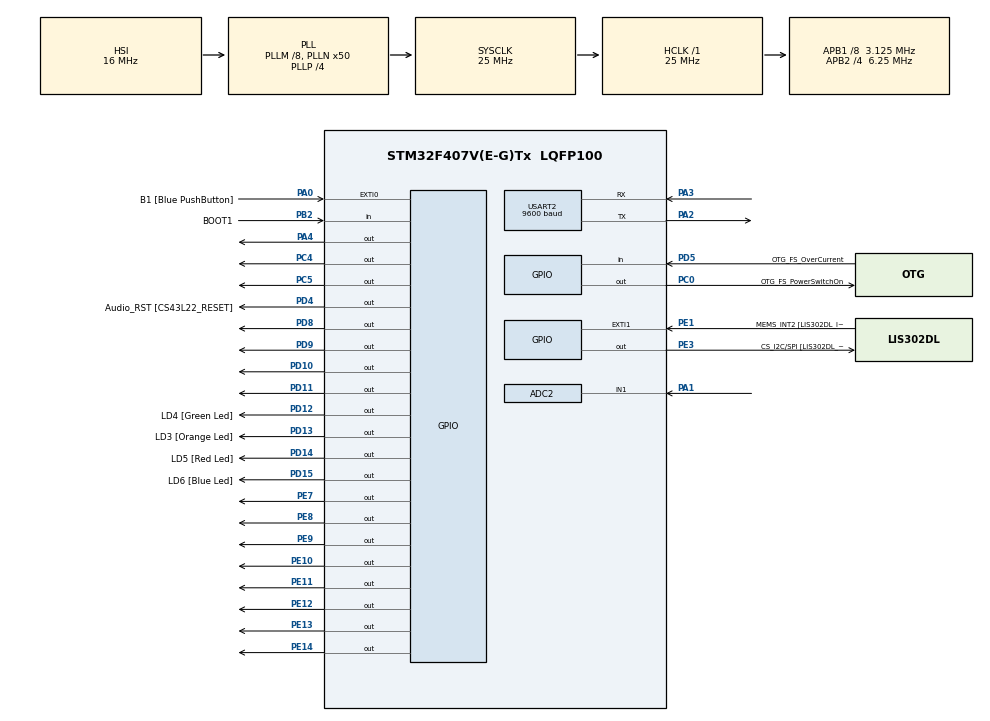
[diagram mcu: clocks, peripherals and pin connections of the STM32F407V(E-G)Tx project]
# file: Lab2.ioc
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ADC2.Channel-0\#ChannelRegularConversion=ADC_CHANNEL_1
ADC2.Channel-1\#ChannelRegularConversion=ADC_CHANNEL_1
ADC2.Channel-2\#ChannelRegularConversion=ADC_CHANNEL_1
ADC2.Channel-3\#ChannelRegularConversion=ADC_CHANNEL_1
ADC2.ClockPrescaler=ADC_CLOCK_SYNC_PCLK_DIV2
ADC2.ContinuousConvMode=DISABLE
ADC2.DMAContinuousRequests=ENABLE
ADC2.DataAlign=ADC_DATAALIGN_RIGHT
ADC2.DiscontinuousConvMode=DISABLE
ADC2.EOCSelection=ADC_EOC_SINGLE_CONV
ADC2.EnableAnalogWatchDog=false
ADC2.ExternalTrigConv=ADC_EXTERNALTRIGCONV_T2_TRGO
ADC2.ExternalTrigConvEdge=ADC_EXTERNALTRIGCONVEDGE_RISING
ADC2.InjNumberOfConversion=0
ADC2.NbrOfConversion=4
ADC2.NbrOfConversionFlag=1
ADC2.Rank-0\#ChannelRegularConversion=1
ADC2.Rank-1\#ChannelRegularConversion=2
ADC2.Rank-2\#ChannelRegularConversion=3
ADC2.Rank-3\#ChannelRegularConversion=4
ADC2.Resolution=ADC_RESOLUTION_12B
ADC2.SamplingTime-0\#ChannelRegularConversion=ADC_SAMPLETIME_3CYCLES
ADC2.SamplingTime-1\#ChannelRegularConversion=ADC_SAMPLETIME_3CYCLES
ADC2.SamplingTime-2\#ChannelRegularConversion=ADC_SAMPLETIME_3CYCLES
ADC2.SamplingTime-3\#ChannelRegularConversion=ADC_SAMPLETIME_3CYCLES
ADC2.ScanConvMode=DISABLE
Mcu.Family=STM32F4
Mcu.Name=STM32F407V(E-G)Tx
Mcu.Package=LQFP100
NVIC.ADC_IRQn=true\:0\:0\:false\:false\:true\:true
NVIC.PriorityGroup=NVIC_PRIORITYGROUP_0
NVIC.RCC_IRQn=true\:0\:0\:false\:false\:true\:true
NVIC.TIM2_IRQn=true\:0\:0\:false\:false\:true\:true
NVIC.USART2_IRQn=true\:0\:0\:false\:false\:true\:true
PA0-WKUP.GPIO_Label=B1 [Blue PushButton]
PA0-WKUP.GPIO_ModeDefaultEXTI=GPIO_MODE_EVT_RISING
PA0-WKUP.GPIO_PuPd=GPIO_NOPULL
PA0-WKUP.Signal=GPXTI0
PA1.Signal=ADCx_IN1
PA10.GPIO_Label=OTG_FS_ID
PA10.GPIO_Mode=GPIO_MODE_AF_PP
PA10.GPIO_PuPd=GPIO_NOPULL
PA10.GPIO_Speed=GPIO_SPEED_FREQ_LOW
PA10.Signal=USB_OTG_FS_ID
PA11.GPIO_Label=OTG_FS_DM
PA11.GPIO_Mode=GPIO_MODE_AF_PP
PA11.GPIO_PuPd=GPIO_NOPULL
PA11.GPIO_Speed=GPIO_SPEED_FREQ_LOW
PA11.Signal=USB_OTG_FS_DM
PA12.GPIO_Label=OTG_FS_DP
PA12.GPIO_Mode=GPIO_MODE_AF_PP
PA12.GPIO_PuPd=GPIO_NOPULL
PA12.GPIO_Speed=GPIO_SPEED_FREQ_LOW
PA12.Signal=USB_OTG_FS_DP
PA13.GPIO_Label=SWDIO
PA13.Signal=SYS_JTMS-SWDIO
PA14.GPIO_Label=SWCLK
PA14.Signal=SYS_JTCK-SWCLK
PA2.Mode=Asynchronous
PA2.Signal=USART2_TX
PA3.Mode=Asynchronous
PA3.Signal=USART2_RX
PA4.Signal=GPIO_Output
PA5.GPIO_Label=SPI1_SCK [LIS302DL_SCL/SPC]
PA5.GPIO_Mode=GPIO_MODE_AF_PP
PA5.GPIO_PuPd=GPIO_NOPULL
PA5.GPIO_Speed=GPIO_SPEED_FREQ_LOW
PA5.Signal=SPI1_SCK
PA6.GPIO_Label=SPI1_MISO [LIS302DL_SDO]
PA6.GPIO_Mode=GPIO_MODE_AF_PP
PA6.GPIO_PuPd=GPIO_NOPULL
PA6.GPIO_Speed=GPIO_SPEED_FREQ_LOW
PA6.Signal=SPI1_MISO
PA7.GPIO_Label=SPI1_MOSI [LIS302DL_SDA/SDI/SDO]
PA7.GPIO_Mode=GPIO_MODE_AF_PP
PA7.GPIO_PuPd=GPIO_NOPULL
PA7.GPIO_Speed=GPIO_SPEED_FREQ_LOW
PA7.Signal=SPI1_MOSI
PA9.GPIO_Label=VBUS_FS
PA9.GPIO_Mode=GPIO_MODE_INPUT
PA9.GPIO_PuPd=GPIO_NOPULL
PA9.Signal=USB_OTG_FS_VBUS
PB10.GPIO_Label=CLK_IN [MP45DT02_CLK]
PB10.GPIO_Mode=GPIO_MODE_AF_PP
PB10.GPIO_PuPd=GPIO_NOPULL
PB10.GPIO_Speed=GPIO_SPEED_FREQ_LOW
PB10.Signal=I2S2_CK
PB2.GPIO_Label=BOOT1
PB2.GPIO_Mode=GPIO_MODE_INPUT
PB2.GPIO_PuPd=GPIO_NOPULL
PB2.Signal=GPIO_Input
PB3.GPIO_Label=SWO
PB3.Signal=SYS_JTDO-SWO
PB6.GPIO_Label=Audio_SCL [CS43L22_SCL]
PB6.GPIO_Mode=GPIO_MODE_AF_OD
PB6.GPIO_PuPd=GPIO_NOPULL
PB6.GPIO_Speed=GPIO_SPEED_FREQ_LOW
PB6.Signal=I2C1_SCL
PB9.GPIO_Label=Audio_SDA [CS43L22_SDA]
PB9.GPIO_Mode=GPIO_MODE_AF_OD
PB9.GPIO_PuPd=GPIO_NOPULL
PB9.GPIO_Speed=GPIO_SPEED_FREQ_LOW
PB9.Signal=I2C1_SDA
PC0.GPIO_Label=OTG_FS_PowerSwitchOn
PC0.GPIO_PuPd=GPIO_NOPULL
PC0.GPIO_Speed=GPIO_SPEED_FREQ_LOW
PC0.PinState=GPIO_PIN_SET
PC0.Signal=GPIO_Output
PC10.GPIO_Label=I2S3_SCK [CS43L22_SCLK]
PC10.GPIO_Mode=GPIO_MODE_AF_PP
PC10.GPIO_PuPd=GPIO_NOPULL
PC10.GPIO_Speed=GPIO_SPEED_FREQ_LOW
PC10.Signal=I2S3_CK
PC12.GPIO_Label=I2S3_SD [CS43L22_SDIN]
PC12.GPIO_Mode=GPIO_MODE_AF_PP
PC12.GPIO_PuPd=GPIO_NOPULL
PC12.GPIO_Speed=GPIO_SPEED_FREQ_LOW
PC12.Signal=I2S3_SD
PC14-OSC32_IN.GPIO_Label=PC14-OSC32_IN
PC14-OSC32_IN.Signal=RCC_OSC32_IN
PC15-OSC32_OUT.GPIO_Label=PC15-OSC32_OUT
PC15-OSC32_OUT.Signal=RCC_OSC32_OUT
PC3.GPIO_Label=PDM_OUT [MP45DT02_DOUT]
PC3.GPIO_Mode=GPIO_MODE_AF_PP
PC3.GPIO_PuPd=GPIO_NOPULL
PC3.GPIO_Speed=GPIO_SPEED_FREQ_LOW
PC3.Signal=I2S2_SD
PC4.Signal=GPIO_Output
PC5.Signal=GPIO_Output
PC7.GPIO_Label=I2S3_MCK [CS43L22_MCLK]
PC7.GPIO_Mode=GPIO_MODE_AF_PP
PC7.GPIO_PuPd=GPIO_NOPULL
PC7.GPIO_Speed=GPIO_SPEED_FREQ_LOW
PC7.Signal=I2S3_MCK
PD10.Signal=GPIO_Output
PD11.Signal=GPIO_Output
PD12.GPIO_Label=LD4 [Green Led]
PD12.GPIO_PuPd=GPIO_NOPULL
PD12.GPIO_Speed=GPIO_SPEED_FREQ_LOW
PD12.Signal=GPIO_Output
PD13.GPIO_Label=LD3 [Orange Led]
PD13.GPIO_PuPd=GPIO_NOPULL
PD13.GPIO_Speed=GPIO_SPEED_FREQ_LOW
PD13.Signal=GPIO_Output
PD14.GPIO_Label=LD5 [Red Led]
PD14.GPIO_PuPd=GPIO_NOPULL
PD14.GPIO_Speed=GPIO_SPEED_FREQ_LOW
PD14.Signal=GPIO_Output
PD15.GPIO_Label=LD6 [Blue Led]
PD15.GPIO_PuPd=GPIO_NOPULL
PD15.GPIO_Speed=GPIO_SPEED_FREQ_LOW
PD15.Signal=GPIO_Output
PD4.GPIO_Label=Audio_RST [CS43L22_RESET]
PD4.GPIO_PuPd=GPIO_NOPULL
PD4.GPIO_Speed=GPIO_SPEED_FREQ_LOW
PD4.Signal=GPIO_Output
PD5.GPIO_Label=OTG_FS_OverCurrent
PD5.GPIO_Mode=GPIO_MODE_INPUT
PD5.GPIO_PuPd=GPIO_NOPULL
PD5.Signal=GPIO_Input
PD8.Signal=GPIO_Output
PD9.Signal=GPIO_Output
PE1.GPIO_Label=MEMS_INT2 [LIS302DL_INT2]
PE1.GPIO_ModeDefaultEXTI=GPIO_MODE_EVT_RISING
PE1.GPIO_PuPd=GPIO_NOPULL
PE1.Signal=GPXTI1
PE10.Signal=GPIO_Output
PE11.Signal=GPIO_Output
PE12.Signal=GPIO_Output
PE13.Signal=GPIO_Output
PE14.Signal=GPIO_Output
PE3.GPIO_Label=CS_I2C/SPI [LIS302DL_CS_I2C/SPI]
PE3.GPIO_PuPd=GPIO_NOPULL
PE3.GPIO_Speed=GPIO_SPEED_FREQ_LOW
PE3.Signal=GPIO_Output
PE7.Signal=GPIO_Output
PE8.Signal=GPIO_Output
PE9.Signal=GPIO_Output
PH0-OSC_IN.GPIO_Label=PH0-OSC_IN
PH0-OSC_IN.Signal=RCC_OSC_IN
PH1-OSC_OUT.GPIO_Label=PH1-OSC_OUT
PH1-OSC_OUT.Signal=RCC_OSC_OUT
ProjectManager.HeapSize=0x200
ProjectManager.StackSize=0x400
ProjectManager.TargetToolchain=MDK-ARM V5
RCC.48MHZClocksFreq_Value=14285714.285714285
RCC.AHBFreq_Value=25000000
RCC.APB1CLKDivider=RCC_HCLK_DIV8
RCC.APB1Freq_Value=3125000
RCC.APB1TimFreq_Value=6250000
RCC.APB2CLKDivider=RCC_HCLK_DIV4
RCC.APB2Freq_Value=6250000
RCC.APB2TimFreq_Value=12500000
RCC.CortexFreq_Value=25000000
RCC.HCLKFreq_Value=25000000
RCC.HSE_VALUE=8000000
RCC.HSI_VALUE=16000000
RCC.LSE_VALUE=32768
RCC.PLLM=8
RCC.PLLN=50
RCC.PLLP=RCC_PLLP_DIV4
RCC.PLLQ=7
RCC.SYSCLKFreq_VALUE=25000000
RCC.SYSCLKSource=RCC_SYSCLKSOURCE_PLLCLK
RCC.VCOOutputFreq_Value=100000000
SH.ADCx_IN1.0=ADC2_IN1,IN1
TIM2.Period=10
TIM2.Prescaler=70
TIM2.TIM_MasterOutputTrigger=TIM_TRGO_UPDATE
TIM3.Period=100
USART2.BaudRate=9600
USART2.VirtualMode=VM_ASYNC
VP_TIM2_VS_ClockSourceINT.Mode=Internal
VP_TIM3_VS_ClockSourceINT.Mode=Internal
board=STM32F4DISCOVERY

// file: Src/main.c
/**
  ******************************************************************************
  * File Name          : main.c
  * Description        : Main program body
  ******************************************************************************
  ** This notice applies to any and all portions of this file
  * that are not between comment pairs USER CODE BEGIN and
  * USER CODE END. Other portions of this file, whether
  * inserted by the user or by software development tools
  * are owned by their respective copyright owners.
  *
  * COPYRIGHT(c) 2017 STMicroelectronics
  *
  * Redistribution and use in source and binary forms, with or without modification,
  * are permitted provided that the following conditions are met:
  *   1. Redistributions of source code must retain the above copyright notice,
  *      this list of conditions and the following disclaimer.
  *   2. Redistributions in binary form must reproduce the above copyright notice,
  *      this list of conditions and the following disclaimer in the documentation
  *      and/or other materials provided with the distribution.
  *   3. Neither the name of STMicroelectronics nor the names of its contributors
  *      may be used to endorse or promote products derived from this software
  *      without specific prior written permission.
  *
  * THIS SOFTWARE IS PROVIDED BY THE COPYRIGHT HOLDERS AND CONTRIBUTORS "AS IS"
  * AND ANY EXPRESS OR IMPLIED WARRANTIES, INCLUDING, BUT NOT LIMITED TO, THE
  * IMPLIED WARRANTIES OF MERCHANTABILITY AND FITNESS FOR A PARTICULAR PURPOSE ARE
  * DISCLAIMED. IN NO EVENT SHALL THE COPYRIGHT HOLDER OR CONTRIBUTORS BE LIABLE
  * FOR ANY DIRECT, INDIRECT, INCIDENTAL, SPECIAL, EXEMPLARY, OR CONSEQUENTIAL
  * DAMAGES (INCLUDING, BUT NOT LIMITED TO, PROCUREMENT OF SUBSTITUTE GOODS OR
  * SERVICES; LOSS OF USE, DATA, OR PROFITS; OR BUSINESS INTERRUPTION) HOWEVER
  * CAUSED AND ON ANY THEORY OF LIABILITY, WHETHER IN CONTRACT, STRICT LIABILITY,
  * OR TORT (INCLUDING NEGLIGENCE OR OTHERWISE) ARISING IN ANY WAY OUT OF THE USE
  * OF THIS SOFTWARE, EVEN IF ADVISED OF THE POSSIBILITY OF SUCH DAMAGE.
  *
  ******************************************************************************
  */
#include "main.h"
#include "stm32f4xx_hal.h"
#include "adc.h"
#include "tim.h"
#include "usart.h"
#include "gpio.h"

/* USER CODE BEGIN Includes */
#include <stdio.h>
#include <stdlib.h>
#include <float.h>
#include <math.h>
#include "state_machine.h"

//#include "display.h"

/* USER CODE END Includes */

/* USER CODE BEGIN PV */
#define WINDOW_SIZE 10000
#define RECORD_TIME 4000
//uint8_t audio_buffer[WINDOW_SIZE];
//uint8_t audio_buffer_2[WINDOW_SIZE];
//uint8_t audio_buffer_3[WINDOW_SIZE];
uint8_t audio_buffer[40000];
int record = 0;
int counter = 0;
int sending = 0;
int receiving = 0;
uint8_t adcVal;
state_e next_state;
char* bufftr="Hello";
//uint8_t buffrec[10000];
/* Private variables ---------------------------------------------------------*/

/* USER CODE END PV */

void SystemClock_Config(void);

/* USER CODE BEGIN PFP */
/* Private function prototypes -----------------------------------------------*/

/* USER CODE END PFP */

/* USER CODE BEGIN 0 */

/**
 * Reads a voltage from the circuit board, and squares the result
 * @return the squared value of the voltage read.
 */
void readVoltage(){
	//get an 8 bit adc value which has to be converted to decimal
	adcVal = HAL_ADC_GetValue(&hadc2);
//	printf("out %d\n", adcVal);

	if(state == RECORD){
					printf("%d\n", adcVal);

//		if(counter < WINDOW_SIZE){
//			audio_buffer[counter] = adcVal;
//		}
//		if(counter >= WINDOW_SIZE && counter < (2*WINDOW_SIZE)){
//			audio_buffer_2[counter-WINDOW_SIZE] = adcVal;
//		}
//		if(counter >= (2*WINDOW_SIZE) && counter < (3*WINDOW_SIZE)){
//			audio_buffer_3[counter-2*WINDOW_SIZE] = adcVal;
//		}
		if(counter < 40000){
			audio_buffer[counter] = adcVal;
		}

	counter++;
	}
}

//Interrupt routine
void HAL_TIM_PeriodElapsedCallback(TIM_HandleTypeDef*htim) {
		HAL_GPIO_TogglePin(GPIOC, GPIO_PIN_4);
		HAL_GPIO_WritePin(GPIOD, GPIO_PIN_12, GPIO_PIN_RESET);
		HAL_GPIO_WritePin(GPIOD, GPIO_PIN_13, GPIO_PIN_RESET);
		HAL_GPIO_WritePin(GPIOD, GPIO_PIN_14, GPIO_PIN_RESET);
		HAL_GPIO_WritePin(GPIOD, GPIO_PIN_15, GPIO_PIN_RESET);
		switch(state){
				case SLEEP:
					HAL_GPIO_TogglePin(GPIOD, GPIO_PIN_12);
					break;
				case RECORD:
					HAL_GPIO_TogglePin(GPIOD, GPIO_PIN_13);
//					readVoltage();
					break;
				case SEND:
					HAL_GPIO_TogglePin(GPIOD, GPIO_PIN_14);
					break;
				case RECEIVE:
					HAL_GPIO_TogglePin(GPIOD, GPIO_PIN_15);
					break;
		}
	 readVoltage();

}

int8_t checkButton()
{
	return HAL_GPIO_ReadPin(GPIOA, GPIO_PIN_0);
}

void transmitInteger(uint8_t x){
	char* str;

	str = malloc(16);
  snprintf(str, 16, "%d", x);
  printf  (", str is now: %s ", str);
	HAL_UART_Transmit_IT(&huart2, (uint8_t *)str, 16);
	free(str);
//	printf("\nFully:%s\n", value);

}

/* USER CODE END 0 */

int main(void)
{

  /* USER CODE BEGIN 1 */
    /* Before infinite loop, must read 1 windows length worth of 0's into window */

  /* USER CODE END 1 */

  /* MCU Configuration----------------------------------------------------------*/

  /* Reset of all peripherals, Initializes the Flash interface and the Systick. */
  HAL_Init();

  /* Configure the system clock */
  SystemClock_Config();

  /* Initialize all configured peripherals */
  MX_GPIO_Init();
  MX_ADC2_Init();
  MX_TIM2_Init();
  MX_TIM3_Init();
  MX_USART2_UART_Init();

  /* USER CODE BEGIN 2 */
	__HAL_UART_ENABLE_IT (&huart2, UART_IT_RXNE);
	__HAL_UART_ENABLE_IT (&huart2, UART_IT_TC);
	HAL_TIM_Base_Start_IT(&htim2);
	HAL_ADC_Start(&hadc2);
	HAL_GPIO_WritePin(GPIOC, GPIO_PIN_5, GPIO_PIN_SET);

	static int startTime = 0;
  /* USER CODE END 2 */

  /* Infinite loop */
  while (1)
  {

  /* USER CODE BEGIN 3 */

		switch(state){
			case SLEEP:
				if(checkButton()){
					next_state = RECORD;
					counter = 0;
					startTime = HAL_GetTick();
				}else{
					next_state = SLEEP;
				}
				break;
			case RECORD:
				if((HAL_GetTick() - startTime) >= RECORD_TIME){
					next_state = SEND;
				}else{
					next_state = RECORD;
				}
				break;
			case SEND:

				HAL_UART_Transmit_IT(&huart2, (uint8_t *)audio_buffer, 40000);
				HAL_Delay(10000);
				printf("DONE\n");
				next_state = RECEIVE;
				break;
			case RECEIVE:
				if(checkButton()){
					next_state = RECORD;
					counter = 0;
					startTime = HAL_GetTick();
				}else{
					next_state = RECEIVE;
				}
				break;
		}
		state = next_state;
  }
  /* USER CODE END 3 */

}

/** System Clock Configuration
*/
void SystemClock_Config(void)
{

  RCC_OscInitTypeDef RCC_OscInitStruct;
  RCC_ClkInitTypeDef RCC_ClkInitStruct;

    /**Configure the main internal regulator output voltage
    */
  __HAL_RCC_PWR_CLK_ENABLE();

  __HAL_PWR_VOLTAGESCALING_CONFIG(PWR_REGULATOR_VOLTAGE_SCALE1);

    /**Initializes the CPU, AHB and APB busses clocks
    */
  RCC_OscInitStruct.OscillatorType = RCC_OSCILLATORTYPE_HSI;
  RCC_OscInitStruct.HSIState = RCC_HSI_ON;
  RCC_OscInitStruct.HSICalibrationValue = 16;
  RCC_OscInitStruct.PLL.PLLState = RCC_PLL_ON;
  RCC_OscInitStruct.PLL.PLLSource = RCC_PLLSOURCE_HSI;
  RCC_OscInitStruct.PLL.PLLM = 8;
  RCC_OscInitStruct.PLL.PLLN = 50;
  RCC_OscInitStruct.PLL.PLLP = RCC_PLLP_DIV4;
  RCC_OscInitStruct.PLL.PLLQ = 7;
  if (HAL_RCC_OscConfig(&RCC_OscInitStruct) != HAL_OK)
  {
    _Error_Handler(__FILE__, __LINE__);
  }

    /**Initializes the CPU, AHB and APB busses clocks
    */
  RCC_ClkInitStruct.ClockType = RCC_CLOCKTYPE_HCLK|RCC_CLOCKTYPE_SYSCLK
                              |RCC_CLOCKTYPE_PCLK1|RCC_CLOCKTYPE_PCLK2;
  RCC_ClkInitStruct.SYSCLKSource = RCC_SYSCLKSOURCE_PLLCLK;
  RCC_ClkInitStruct.AHBCLKDivider = RCC_SYSCLK_DIV1;
  RCC_ClkInitStruct.APB1CLKDivider = RCC_HCLK_DIV8;
  RCC_ClkInitStruct.APB2CLKDivider = RCC_HCLK_DIV4;

  if (HAL_RCC_ClockConfig(&RCC_ClkInitStruct, FLASH_LATENCY_0) != HAL_OK)
  {
    _Error_Handler(__FILE__, __LINE__);
  }

    /**Configure the Systick interrupt time
    */
  HAL_SYSTICK_Config(HAL_RCC_GetHCLKFreq()/1000);

    /**Configure the Systick
    */
  HAL_SYSTICK_CLKSourceConfig(SYSTICK_CLKSOURCE_HCLK);

  /* SysTick_IRQn interrupt configuration */
  HAL_NVIC_SetPriority(SysTick_IRQn, 0, 0);
}

void _Error_Handler(char * file, int line)
{
	while(1)
	{
	}
}

/************************ (C) COPYRIGHT STMicroelectronics *****END OF FILE****/
